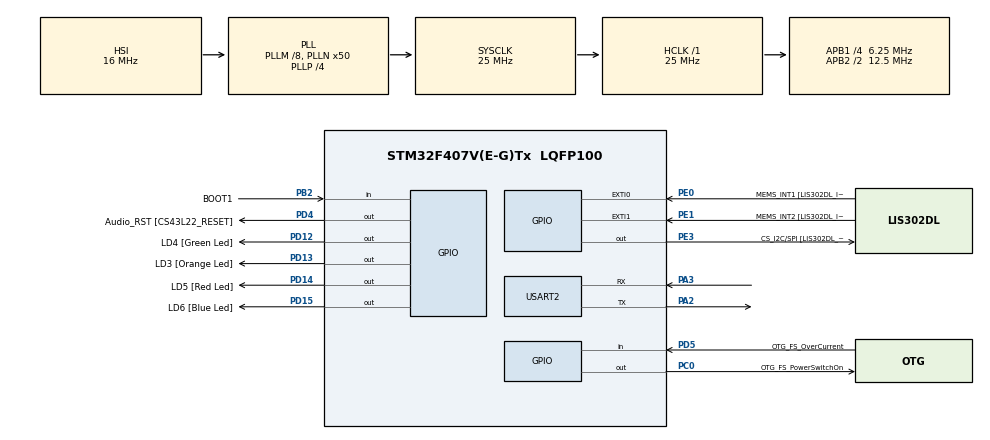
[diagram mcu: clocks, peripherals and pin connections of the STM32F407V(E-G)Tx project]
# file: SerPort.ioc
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Mcu.Family=STM32F4
Mcu.Name=STM32F407V(E-G)Tx
Mcu.Package=LQFP100
NVIC.PriorityGroup=NVIC_PRIORITYGROUP_0
PA10.GPIO_Label=OTG_FS_ID
PA10.GPIO_Mode=GPIO_MODE_AF_PP
PA10.GPIO_PuPd=GPIO_NOPULL
PA10.GPIO_Speed=GPIO_SPEED_FREQ_LOW
PA10.Signal=USB_OTG_FS_ID
PA11.GPIO_Label=OTG_FS_DM
PA11.GPIO_Mode=GPIO_MODE_AF_PP
PA11.GPIO_PuPd=GPIO_NOPULL
PA11.GPIO_Speed=GPIO_SPEED_FREQ_LOW
PA11.Signal=USB_OTG_FS_DM
PA12.GPIO_Label=OTG_FS_DP
PA12.GPIO_Mode=GPIO_MODE_AF_PP
PA12.GPIO_PuPd=GPIO_NOPULL
PA12.GPIO_Speed=GPIO_SPEED_FREQ_LOW
PA12.Signal=USB_OTG_FS_DP
PA13.GPIO_Label=SWDIO
PA13.Signal=SYS_JTMS-SWDIO
PA14.GPIO_Label=SWCLK
PA14.Signal=SYS_JTCK-SWCLK
PA2.Mode=Asynchronous
PA2.Signal=USART2_TX
PA3.Mode=Asynchronous
PA3.Signal=USART2_RX
PA4.GPIO_Label=I2S3_WS [CS43L22_LRCK]
PA4.GPIO_Mode=GPIO_MODE_AF_PP
PA4.GPIO_PuPd=GPIO_NOPULL
PA4.GPIO_Speed=GPIO_SPEED_FREQ_LOW
PA4.Signal=I2S3_WS
PA5.GPIO_Label=SPI1_SCK [LIS302DL_SCL/SPC]
PA5.GPIO_Mode=GPIO_MODE_AF_PP
PA5.GPIO_PuPd=GPIO_NOPULL
PA5.GPIO_Speed=GPIO_SPEED_FREQ_LOW
PA5.Signal=SPI1_SCK
PA6.GPIO_Label=SPI1_MISO [LIS302DL_SDO]
PA6.GPIO_Mode=GPIO_MODE_AF_PP
PA6.GPIO_PuPd=GPIO_NOPULL
PA6.GPIO_Speed=GPIO_SPEED_FREQ_LOW
PA6.Signal=SPI1_MISO
PA7.GPIO_Label=SPI1_MOSI [LIS302DL_SDA/SDI/SDO]
PA7.GPIO_Mode=GPIO_MODE_AF_PP
PA7.GPIO_PuPd=GPIO_NOPULL
PA7.GPIO_Speed=GPIO_SPEED_FREQ_LOW
PA7.Signal=SPI1_MOSI
PA9.GPIO_Label=VBUS_FS
PA9.GPIO_Mode=GPIO_MODE_INPUT
PA9.GPIO_PuPd=GPIO_NOPULL
PA9.Signal=USB_OTG_FS_VBUS
PB10.GPIO_Label=CLK_IN [MP45DT02_CLK]
PB10.GPIO_Mode=GPIO_MODE_AF_PP
PB10.GPIO_PuPd=GPIO_NOPULL
PB10.GPIO_Speed=GPIO_SPEED_FREQ_LOW
PB10.Signal=I2S2_CK
PB2.GPIO_Label=BOOT1
PB2.GPIO_Mode=GPIO_MODE_INPUT
PB2.GPIO_PuPd=GPIO_NOPULL
PB2.Signal=GPIO_Input
PB3.GPIO_Label=SWO
PB3.Signal=SYS_JTDO-SWO
PB6.GPIO_Label=Audio_SCL [CS43L22_SCL]
PB6.GPIO_Mode=GPIO_MODE_AF_OD
PB6.GPIO_PuPd=GPIO_NOPULL
PB6.GPIO_Speed=GPIO_SPEED_FREQ_LOW
PB6.Signal=I2C1_SCL
PB9.GPIO_Label=Audio_SDA [CS43L22_SDA]
PB9.GPIO_Mode=GPIO_MODE_AF_OD
PB9.GPIO_PuPd=GPIO_NOPULL
PB9.GPIO_Speed=GPIO_SPEED_FREQ_LOW
PB9.Signal=I2C1_SDA
PC0.GPIO_Label=OTG_FS_PowerSwitchOn
PC0.GPIO_PuPd=GPIO_NOPULL
PC0.GPIO_Speed=GPIO_SPEED_FREQ_LOW
PC0.PinState=GPIO_PIN_SET
PC0.Signal=GPIO_Output
PC10.GPIO_Label=I2S3_SCK [CS43L22_SCLK]
PC10.GPIO_Mode=GPIO_MODE_AF_PP
PC10.GPIO_PuPd=GPIO_NOPULL
PC10.GPIO_Speed=GPIO_SPEED_FREQ_LOW
PC10.Signal=I2S3_CK
PC12.GPIO_Label=I2S3_SD [CS43L22_SDIN]
PC12.GPIO_Mode=GPIO_MODE_AF_PP
PC12.GPIO_PuPd=GPIO_NOPULL
PC12.GPIO_Speed=GPIO_SPEED_FREQ_LOW
PC12.Signal=I2S3_SD
PC14-OSC32_IN.GPIO_Label=PC14-OSC32_IN
PC14-OSC32_IN.Signal=RCC_OSC32_IN
PC15-OSC32_OUT.GPIO_Label=PC15-OSC32_OUT
PC15-OSC32_OUT.Signal=RCC_OSC32_OUT
PC3.GPIO_Label=PDM_OUT [MP45DT02_DOUT]
PC3.GPIO_Mode=GPIO_MODE_AF_PP
PC3.GPIO_PuPd=GPIO_NOPULL
PC3.GPIO_Speed=GPIO_SPEED_FREQ_LOW
PC3.Signal=I2S2_SD
PC7.GPIO_Label=I2S3_MCK [CS43L22_MCLK]
PC7.GPIO_Mode=GPIO_MODE_AF_PP
PC7.GPIO_PuPd=GPIO_NOPULL
PC7.GPIO_Speed=GPIO_SPEED_FREQ_LOW
PC7.Signal=I2S3_MCK
PD12.GPIO_Label=LD4 [Green Led]
PD12.GPIO_PuPd=GPIO_NOPULL
PD12.GPIO_Speed=GPIO_SPEED_FREQ_LOW
PD12.Signal=GPIO_Output
PD13.GPIO_Label=LD3 [Orange Led]
PD13.GPIO_PuPd=GPIO_NOPULL
PD13.GPIO_Speed=GPIO_SPEED_FREQ_LOW
PD13.Signal=GPIO_Output
PD14.GPIO_Label=LD5 [Red Led]
PD14.GPIO_PuPd=GPIO_NOPULL
PD14.GPIO_Speed=GPIO_SPEED_FREQ_LOW
PD14.Signal=GPIO_Output
PD15.GPIO_Label=LD6 [Blue Led]
PD15.GPIO_PuPd=GPIO_NOPULL
PD15.GPIO_Speed=GPIO_SPEED_FREQ_LOW
PD15.Signal=GPIO_Output
PD4.GPIO_Label=Audio_RST [CS43L22_RESET]
PD4.GPIO_PuPd=GPIO_NOPULL
PD4.GPIO_Speed=GPIO_SPEED_FREQ_LOW
PD4.Signal=GPIO_Output
PD5.GPIO_Label=OTG_FS_OverCurrent
PD5.GPIO_Mode=GPIO_MODE_INPUT
PD5.GPIO_PuPd=GPIO_NOPULL
PD5.Signal=GPIO_Input
PE0.GPIO_Label=MEMS_INT1 [LIS302DL_INT1]
PE0.Signal=GPXTI0
PE1.GPIO_Label=MEMS_INT2 [LIS302DL_INT2]
PE1.GPIO_ModeDefaultEXTI=GPIO_MODE_EVT_RISING
PE1.GPIO_PuPd=GPIO_NOPULL
PE1.Signal=GPXTI1
PE3.GPIO_Label=CS_I2C/SPI [LIS302DL_CS_I2C/SPI]
PE3.GPIO_PuPd=GPIO_NOPULL
PE3.GPIO_Speed=GPIO_SPEED_FREQ_LOW
PE3.Signal=GPIO_Output
PH0-OSC_IN.GPIO_Label=PH0-OSC_IN
PH0-OSC_IN.Signal=RCC_OSC_IN
PH1-OSC_OUT.GPIO_Label=PH1-OSC_OUT
PH1-OSC_OUT.Signal=RCC_OSC_OUT
ProjectManager.HeapSize=0x200
ProjectManager.StackSize=0x400
ProjectManager.TargetToolchain=MDK-ARM V5
RCC.48MHZClocksFreq_Value=14285714.285714285
RCC.AHBFreq_Value=25000000
RCC.APB1CLKDivider=RCC_HCLK_DIV4
RCC.APB1Freq_Value=6250000
RCC.APB1TimFreq_Value=12500000
RCC.APB2CLKDivider=RCC_HCLK_DIV2
RCC.APB2Freq_Value=12500000
RCC.APB2TimFreq_Value=25000000
RCC.CortexFreq_Value=25000000
RCC.HCLKFreq_Value=25000000
RCC.HSE_VALUE=8000000
RCC.HSI_VALUE=16000000
RCC.LSE_VALUE=32768
RCC.PLLM=8
RCC.PLLN=50
RCC.PLLP=RCC_PLLP_DIV4
RCC.PLLQ=7
RCC.SYSCLKFreq_VALUE=25000000
RCC.SYSCLKSource=RCC_SYSCLKSOURCE_PLLCLK
RCC.VCOOutputFreq_Value=100000000
board=STM32F407G-DISC1

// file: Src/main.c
/**
  ******************************************************************************
  * File Name          : main.c
  * Description        : Main program body
  ******************************************************************************
  *
  * COPYRIGHT(c) 2016 STMicroelectronics
  *
  * Redistribution and use in source and binary forms, with or without modification,
  * are permitted provided that the following conditions are met:
  *   1. Redistributions of source code must retain the above copyright notice,
  *      this list of conditions and the following disclaimer.
  *   2. Redistributions in binary form must reproduce the above copyright notice,
  *      this list of conditions and the following disclaimer in the documentation
  *      and/or other materials provided with the distribution.
  *   3. Neither the name of STMicroelectronics nor the names of its contributors
  *      may be used to endorse or promote products derived from this software
  *      without specific prior written permission.
  *
  * THIS SOFTWARE IS PROVIDED BY THE COPYRIGHT HOLDERS AND CONTRIBUTORS "AS IS"
  * AND ANY EXPRESS OR IMPLIED WARRANTIES, INCLUDING, BUT NOT LIMITED TO, THE
  * IMPLIED WARRANTIES OF MERCHANTABILITY AND FITNESS FOR A PARTICULAR PURPOSE ARE
  * DISCLAIMED. IN NO EVENT SHALL THE COPYRIGHT HOLDER OR CONTRIBUTORS BE LIABLE
  * FOR ANY DIRECT, INDIRECT, INCIDENTAL, SPECIAL, EXEMPLARY, OR CONSEQUENTIAL
  * DAMAGES (INCLUDING, BUT NOT LIMITED TO, PROCUREMENT OF SUBSTITUTE GOODS OR
  * SERVICES; LOSS OF USE, DATA, OR PROFITS; OR BUSINESS INTERRUPTION) HOWEVER
  * CAUSED AND ON ANY THEORY OF LIABILITY, WHETHER IN CONTRACT, STRICT LIABILITY,
  * OR TORT (INCLUDING NEGLIGENCE OR OTHERWISE) ARISING IN ANY WAY OUT OF THE USE
  * OF THIS SOFTWARE, EVEN IF ADVISED OF THE POSSIBILITY OF SUCH DAMAGE.
  *
  ******************************************************************************
  */
#include "main.h"
#include "stm32f4xx_hal.h"

/* USER CODE BEGIN Includes */
#include <string.h>
#include "comm.h"

/* USER CODE END Includes */

UART_HandleTypeDef huart2;

/* USER CODE BEGIN PV */
/* Private variables ---------------------------------------------------------*/
OUTPUT_MESSAGE_TYPE outmsg;

INPUT_MESSAGE_TYPE  inmsg ;
int inmsgptr=0 ;
/* USER CODE END PV */

void SystemClock_Config(void);
void Error_Handler(void);
static void MX_GPIO_Init(void);
static void MX_USART2_UART_Init(void);

/* USER CODE BEGIN PFP */
/* Private function prototypes -----------------------------------------------*/

/* USER CODE END PFP */

/* USER CODE BEGIN 0 */
uint8_t cycles=0xff ;
int recseqno=0 ;
uint8_t sequenceno = 22 ;

uint8_t receivedchar = 0 ;

uint8_t receivebuffer[128] ;
uint8_t receivebufptr = 0 ;

void IndicateCycleNo(void)
{
   //HAL_GPIO_WritePin(LD4_Pin|LD3_Pin|LD5_Pin|LD6_Pin,GPIO_PIN_RESET) ;
	 switch (cycles % 4)
	 {
		 case 0 : HAL_GPIO_TogglePin(LD4_GPIO_Port,LD4_Pin) ;
			 break;
		 case 1 : HAL_GPIO_TogglePin(LD5_GPIO_Port,LD5_Pin) ;
			 break;
		 case 2 : HAL_GPIO_TogglePin(LD6_GPIO_Port,LD6_Pin) ;
			 break;
		 case 3 : HAL_GPIO_TogglePin(LD3_GPIO_Port,LD3_Pin) ;
			 break ;
		 default:
		 break ;
	 }

}
/* USER CODE END 0 */

int main(void)
{

  /* MCU Configuration----------------------------------------------------------*/

  /* Reset of all peripherals, Initializes the Flash interface and the Systick. */
  HAL_Init();

  /* Configure the system clock */
  SystemClock_Config();

  /* Initialize all configured peripherals */
  MX_GPIO_Init();
  MX_USART2_UART_Init();

  /* USER CODE BEGIN 2 */
	__HAL_UART_ENABLE_IT(&huart2 , UART_IT_RXNE);
	NVIC_EnableIRQ(USART2_IRQn);
	HAL_UART_Receive_IT(&huart2 , (uint8_t *)&receivedchar , sizeof(receivedchar));
  /* USER CODE END 2 */

  /* Infinite loop */
  /* USER CODE BEGIN WHILE */
 	memset(receivebuffer,0,sizeof(receivebuffer)) ;
	memset(&inmsg,0,sizeof(inmsg));
  while (1)
  {
  /* USER CODE END WHILE */

  /* USER CODE BEGIN 3 */
				cycles++ ;
		IndicateCycleNo();
		sequenceno--;
		outmsg.o_myseqno = sequenceno ;
		outmsg.o_yourseqno = receivedchar ;
		HAL_UART_Transmit(&huart2, (uint8_t *)&outmsg , 1 , 1000);
		HAL_GPIO_TogglePin(GPIOC,LD4_Pin|LD3_Pin);
		HAL_UART_Receive_IT(&huart2 , (uint8_t *)&receivedchar , sizeof(receivedchar));
		HAL_Delay(1000);
  }
  /* USER CODE END 3 */

}

/** System Clock Configuration
*/
void SystemClock_Config(void)
{

  RCC_OscInitTypeDef RCC_OscInitStruct;
  RCC_ClkInitTypeDef RCC_ClkInitStruct;

    /**Configure the main internal regulator output voltage
    */
  __HAL_RCC_PWR_CLK_ENABLE();

  __HAL_PWR_VOLTAGESCALING_CONFIG(PWR_REGULATOR_VOLTAGE_SCALE1);

    /**Initializes the CPU, AHB and APB busses clocks
    */
  RCC_OscInitStruct.OscillatorType = RCC_OSCILLATORTYPE_HSI;
  RCC_OscInitStruct.HSIState = RCC_HSI_ON;
  RCC_OscInitStruct.HSICalibrationValue = 16;
  RCC_OscInitStruct.PLL.PLLState = RCC_PLL_ON;
  RCC_OscInitStruct.PLL.PLLSource = RCC_PLLSOURCE_HSI;
  RCC_OscInitStruct.PLL.PLLM = 8;
  RCC_OscInitStruct.PLL.PLLN = 50;
  RCC_OscInitStruct.PLL.PLLP = RCC_PLLP_DIV4;
  RCC_OscInitStruct.PLL.PLLQ = 7;
  if (HAL_RCC_OscConfig(&RCC_OscInitStruct) != HAL_OK)
  {
    Error_Handler();
  }

    /**Initializes the CPU, AHB and APB busses clocks
    */
  RCC_ClkInitStruct.ClockType = RCC_CLOCKTYPE_HCLK|RCC_CLOCKTYPE_SYSCLK
                              |RCC_CLOCKTYPE_PCLK1|RCC_CLOCKTYPE_PCLK2;
  RCC_ClkInitStruct.SYSCLKSource = RCC_SYSCLKSOURCE_PLLCLK;
  RCC_ClkInitStruct.AHBCLKDivider = RCC_SYSCLK_DIV1;
  RCC_ClkInitStruct.APB1CLKDivider = RCC_HCLK_DIV4;
  RCC_ClkInitStruct.APB2CLKDivider = RCC_HCLK_DIV2;

  if (HAL_RCC_ClockConfig(&RCC_ClkInitStruct, FLASH_LATENCY_0) != HAL_OK)
  {
    Error_Handler();
  }

    /**Configure the Systick interrupt time
    */
  HAL_SYSTICK_Config(HAL_RCC_GetHCLKFreq()/1000);

    /**Configure the Systick
    */
  HAL_SYSTICK_CLKSourceConfig(SYSTICK_CLKSOURCE_HCLK);

  /* SysTick_IRQn interrupt configuration */
  HAL_NVIC_SetPriority(SysTick_IRQn, 0, 0);
}

/* USART2 init function */
static void MX_USART2_UART_Init(void)
{

  huart2.Instance = USART2;
  huart2.Init.BaudRate = BAUD_RATE ;
  huart2.Init.WordLength = UART_WORDLENGTH_8B;
  huart2.Init.StopBits = UART_STOPBITS_1;
  huart2.Init.Parity = UART_PARITY_NONE;
  huart2.Init.Mode = UART_MODE_TX_RX;
  huart2.Init.HwFlowCtl = UART_HWCONTROL_NONE;
  huart2.Init.OverSampling = UART_OVERSAMPLING_16;
  if (HAL_UART_Init(&huart2) != HAL_OK)
  {
    Error_Handler();
  }

}

/** Configure pins as
        * Analog
        * Input
        * Output
        * EVENT_OUT
        * EXTI
     PC3   ------> I2S2_SD
     PA4   ------> I2S3_WS
     PA5   ------> SPI1_SCK
     PA6   ------> SPI1_MISO
     PA7   ------> SPI1_MOSI
     PB10   ------> I2S2_CK
     PC7   ------> I2S3_MCK
     PA9   ------> USB_OTG_FS_VBUS
     PA10   ------> USB_OTG_FS_ID
     PA11   ------> USB_OTG_FS_DM
     PA12   ------> USB_OTG_FS_DP
     PC10   ------> I2S3_CK
     PC12   ------> I2S3_SD
     PB6   ------> I2C1_SCL
     PB9   ------> I2C1_SDA
*/
static void MX_GPIO_Init(void)
{

  GPIO_InitTypeDef GPIO_InitStruct;

  /* GPIO Ports Clock Enable */
  __HAL_RCC_GPIOE_CLK_ENABLE();
  __HAL_RCC_GPIOC_CLK_ENABLE();
  __HAL_RCC_GPIOH_CLK_ENABLE();
  __HAL_RCC_GPIOA_CLK_ENABLE();
  __HAL_RCC_GPIOB_CLK_ENABLE();
  __HAL_RCC_GPIOD_CLK_ENABLE();

  /*Configure GPIO pin Output Level */
  HAL_GPIO_WritePin(CS_I2C_SPI_GPIO_Port, CS_I2C_SPI_Pin, GPIO_PIN_RESET);

  /*Configure GPIO pin Output Level */
  HAL_GPIO_WritePin(OTG_FS_PowerSwitchOn_GPIO_Port, OTG_FS_PowerSwitchOn_Pin, GPIO_PIN_SET);

  /*Configure GPIO pin Output Level */
  HAL_GPIO_WritePin(GPIOD, LD4_Pin|LD3_Pin|LD5_Pin|LD6_Pin
                          |Audio_RST_Pin, GPIO_PIN_RESET);

  /*Configure GPIO pin : CS_I2C_SPI_Pin */
  GPIO_InitStruct.Pin = CS_I2C_SPI_Pin;
  GPIO_InitStruct.Mode = GPIO_MODE_OUTPUT_PP;
  GPIO_InitStruct.Pull = GPIO_NOPULL;
  GPIO_InitStruct.Speed = GPIO_SPEED_FREQ_LOW;
  HAL_GPIO_Init(CS_I2C_SPI_GPIO_Port, &GPIO_InitStruct);

  /*Configure GPIO pin : OTG_FS_PowerSwitchOn_Pin */
  GPIO_InitStruct.Pin = OTG_FS_PowerSwitchOn_Pin;
  GPIO_InitStruct.Mode = GPIO_MODE_OUTPUT_PP;
  GPIO_InitStruct.Pull = GPIO_NOPULL;
  GPIO_InitStruct.Speed = GPIO_SPEED_FREQ_LOW;
  HAL_GPIO_Init(OTG_FS_PowerSwitchOn_GPIO_Port, &GPIO_InitStruct);

  /*Configure GPIO pin : PDM_OUT_Pin */
  GPIO_InitStruct.Pin = PDM_OUT_Pin;
  GPIO_InitStruct.Mode = GPIO_MODE_AF_PP;
  GPIO_InitStruct.Pull = GPIO_NOPULL;
  GPIO_InitStruct.Speed = GPIO_SPEED_FREQ_LOW;
  GPIO_InitStruct.Alternate = GPIO_AF5_SPI2;
  HAL_GPIO_Init(PDM_OUT_GPIO_Port, &GPIO_InitStruct);

  /*Configure GPIO pin : PA4 */
  GPIO_InitStruct.Pin = GPIO_PIN_4;
  GPIO_InitStruct.Mode = GPIO_MODE_AF_PP;
  GPIO_InitStruct.Pull = GPIO_NOPULL;
  GPIO_InitStruct.Speed = GPIO_SPEED_FREQ_LOW;
  GPIO_InitStruct.Alternate = GPIO_AF6_SPI3;
  HAL_GPIO_Init(GPIOA, &GPIO_InitStruct);

  /*Configure GPIO pins : PA5 PA6 PA7 */
  GPIO_InitStruct.Pin = GPIO_PIN_5|GPIO_PIN_6|GPIO_PIN_7;
  GPIO_InitStruct.Mode = GPIO_MODE_AF_PP;
  GPIO_InitStruct.Pull = GPIO_NOPULL;
  GPIO_InitStruct.Speed = GPIO_SPEED_FREQ_LOW;
  GPIO_InitStruct.Alternate = GPIO_AF5_SPI1;
  HAL_GPIO_Init(GPIOA, &GPIO_InitStruct);

  /*Configure GPIO pin : BOOT1_Pin */
  GPIO_InitStruct.Pin = BOOT1_Pin;
  GPIO_InitStruct.Mode = GPIO_MODE_INPUT;
  GPIO_InitStruct.Pull = GPIO_NOPULL;
  HAL_GPIO_Init(BOOT1_GPIO_Port, &GPIO_InitStruct);

  /*Configure GPIO pin : CLK_IN_Pin */
  GPIO_InitStruct.Pin = CLK_IN_Pin;
  GPIO_InitStruct.Mode = GPIO_MODE_AF_PP;
  GPIO_InitStruct.Pull = GPIO_NOPULL;
  GPIO_InitStruct.Speed = GPIO_SPEED_FREQ_LOW;
  GPIO_InitStruct.Alternate = GPIO_AF5_SPI2;
  HAL_GPIO_Init(CLK_IN_GPIO_Port, &GPIO_InitStruct);

  /*Configure GPIO pins : LD4_Pin LD3_Pin LD5_Pin LD6_Pin
                           Audio_RST_Pin */
  GPIO_InitStruct.Pin = LD4_Pin|LD3_Pin|LD5_Pin|LD6_Pin
                          |Audio_RST_Pin;
  GPIO_InitStruct.Mode = GPIO_MODE_OUTPUT_PP;
  GPIO_InitStruct.Pull = GPIO_NOPULL;
  GPIO_InitStruct.Speed = GPIO_SPEED_FREQ_LOW;
  HAL_GPIO_Init(GPIOD, &GPIO_InitStruct);

  /*Configure GPIO pins : PC7 I2S3_SCK_Pin PC12 */
  GPIO_InitStruct.Pin = GPIO_PIN_7|I2S3_SCK_Pin|GPIO_PIN_12;
  GPIO_InitStruct.Mode = GPIO_MODE_AF_PP;
  GPIO_InitStruct.Pull = GPIO_NOPULL;
  GPIO_InitStruct.Speed = GPIO_SPEED_FREQ_LOW;
  GPIO_InitStruct.Alternate = GPIO_AF6_SPI3;
  HAL_GPIO_Init(GPIOC, &GPIO_InitStruct);

  /*Configure GPIO pin : VBUS_FS_Pin */
  GPIO_InitStruct.Pin = VBUS_FS_Pin;
  GPIO_InitStruct.Mode = GPIO_MODE_INPUT;
  GPIO_InitStruct.Pull = GPIO_NOPULL;
  HAL_GPIO_Init(VBUS_FS_GPIO_Port, &GPIO_InitStruct);

  /*Configure GPIO pins : OTG_FS_ID_Pin OTG_FS_DM_Pin OTG_FS_DP_Pin */
  GPIO_InitStruct.Pin = OTG_FS_ID_Pin|OTG_FS_DM_Pin|OTG_FS_DP_Pin;
  GPIO_InitStruct.Mode = GPIO_MODE_AF_PP;
  GPIO_InitStruct.Pull = GPIO_NOPULL;
  GPIO_InitStruct.Speed = GPIO_SPEED_FREQ_LOW;
  GPIO_InitStruct.Alternate = GPIO_AF10_OTG_FS;
  HAL_GPIO_Init(GPIOA, &GPIO_InitStruct);

  /*Configure GPIO pin : OTG_FS_OverCurrent_Pin */
  GPIO_InitStruct.Pin = OTG_FS_OverCurrent_Pin;
  GPIO_InitStruct.Mode = GPIO_MODE_INPUT;
  GPIO_InitStruct.Pull = GPIO_NOPULL;
  HAL_GPIO_Init(OTG_FS_OverCurrent_GPIO_Port, &GPIO_InitStruct);

  /*Configure GPIO pins : Audio_SCL_Pin Audio_SDA_Pin */
  GPIO_InitStruct.Pin = Audio_SCL_Pin|Audio_SDA_Pin;
  GPIO_InitStruct.Mode = GPIO_MODE_AF_OD;
  GPIO_InitStruct.Pull = GPIO_PULLUP;
  GPIO_InitStruct.Speed = GPIO_SPEED_FREQ_LOW;
  GPIO_InitStruct.Alternate = GPIO_AF4_I2C1;
  HAL_GPIO_Init(GPIOB, &GPIO_InitStruct);

  /*Configure GPIO pin : MEMS_INT1_Pin */
  GPIO_InitStruct.Pin = MEMS_INT1_Pin;
  GPIO_InitStruct.Mode = GPIO_MODE_IT_RISING;
  GPIO_InitStruct.Pull = GPIO_NOPULL;
  HAL_GPIO_Init(MEMS_INT1_GPIO_Port, &GPIO_InitStruct);

  /*Configure GPIO pin : MEMS_INT2_Pin */
  GPIO_InitStruct.Pin = MEMS_INT2_Pin;
  GPIO_InitStruct.Mode = GPIO_MODE_EVT_RISING;
  GPIO_InitStruct.Pull = GPIO_NOPULL;
  HAL_GPIO_Init(MEMS_INT2_GPIO_Port, &GPIO_InitStruct);

}

void Error_Handler(void)
{
  while(1)
  {
  }
}

void USART2_IRQHandler(void)
{
   HAL_UART_IRQHandler(&huart2) ;
}

/************************ (C) COPYRIGHT STMicroelectronics *****END OF FILE****/
